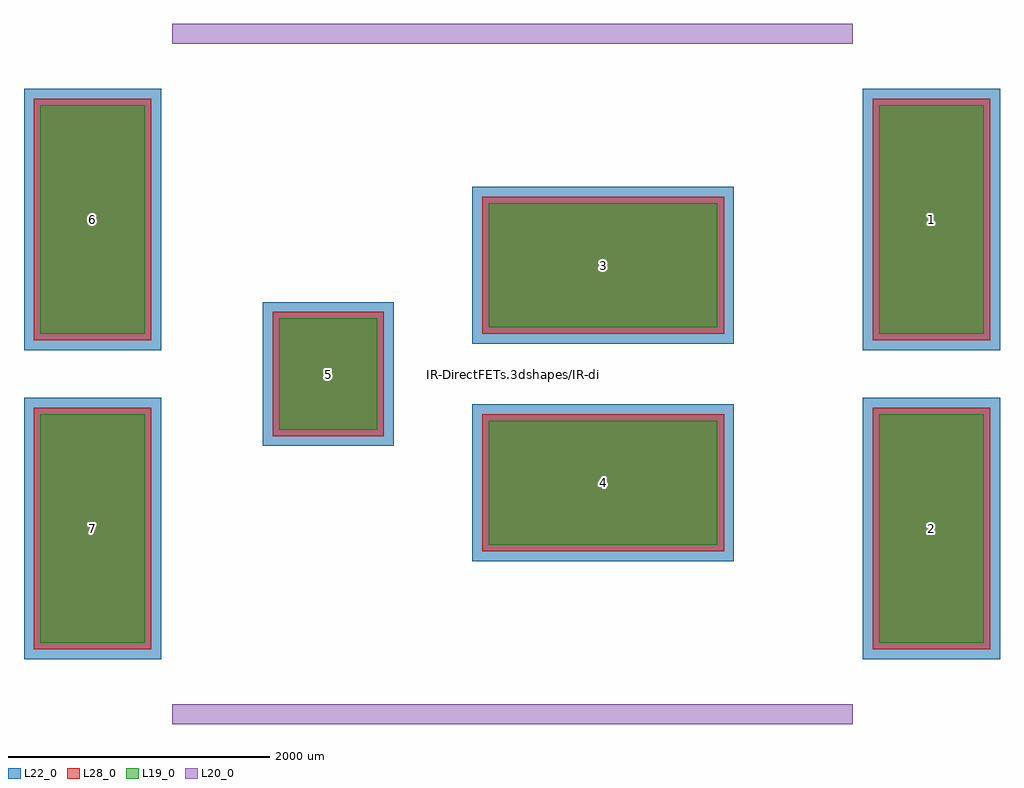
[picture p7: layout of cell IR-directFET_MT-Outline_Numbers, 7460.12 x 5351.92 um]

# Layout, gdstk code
import gdstk
lib = gdstk.Library(unit=1e-6, precision=1e-09)
def R(c, l, rs):  # rectangles x0, y0, x1, y1
    for r in rs: c.add(gdstk.rectangle(r[:2], r[2:], *l))
L19_0 = (19, 0)
L20_0 = (20, 0)
L22_0 = (22, 0)
L28_0 = (28, 0)

ir_directfet_mt_outline_ = lib.new_cell('IR-directFET_MT-Outline_Numbers')
R(ir_directfet_mt_outline_, L19_0, [(-3610.14,-2055.66,-2810.98,-306.54), (2800.82,-2055.66,3599.98,-306.54), (-183.68,-1305.09,1565.44,-356.07), (-1785.15,-424.98,-1034.25,424.98), (-3610.14,306.54,-2810.98,2055.66), (2800.82,306.54,3599.98,2055.66), (-183.68,356.07,1565.44,1305.09)])
R(ir_directfet_mt_outline_, L22_0, [(-3735.14,-2180.66,-2685.98,-181.54), (2675.82,-2180.66,3724.98,-181.54), (-308.68,-1430.09,1690.44,-231.07), (-1910.15,-549.98,-909.25,549.98), (-3735.14,181.54,-2685.98,2180.66), (2675.82,181.54,3724.98,2180.66), (-308.68,231.07,1690.44,1430.09)])
R(ir_directfet_mt_outline_, L28_0, [(-3660.14,-2105.66,-2760.98,-256.54), (2750.82,-2105.66,3649.98,-256.54), (-233.68,-1355.09,1615.44,-306.07), (-1835.15,-474.98,-984.25,474.98), (-3660.14,256.54,-2760.98,2105.66), (2750.82,256.54,3649.98,2105.66), (-233.68,306.07,1615.44,1355.09)])
ir_directfet_mt_outline_.add(gdstk.FlexPath([(-2600.96,2600.96),(2600.96,2600.96)], 149.998, ends="flush", simple_path=True, layer=20, datatype=0))  # L20_0
ir_directfet_mt_outline_.add(gdstk.FlexPath([(2600.96,-2600.96),(-2600.96,-2600.96)], 149.998, ends="flush", simple_path=True, layer=20, datatype=0))  # L20_0
ir_directfet_mt_outline_.add(gdstk.Label('IR-DirectFETs.3dshapes/IR-directFET_MT-Outline_Numbers.wrl', (0,0), layer=12, texttype=0))
ir_directfet_mt_outline_.add(gdstk.Label('2', (3200.4,-1181.1), layer=28, texttype=0))
ir_directfet_mt_outline_.add(gdstk.Label('1', (3200.4,1181.1), layer=28, texttype=0))
ir_directfet_mt_outline_.add(gdstk.Label('7', (-3210.56,-1181.1), layer=28, texttype=0))
ir_directfet_mt_outline_.add(gdstk.Label('6', (-3210.56,1181.1), layer=28, texttype=0))
ir_directfet_mt_outline_.add(gdstk.Label('4', (690.88,-830.58), layer=28, texttype=0))
ir_directfet_mt_outline_.add(gdstk.Label('3', (690.88,830.58), layer=28, texttype=0))
ir_directfet_mt_outline_.add(gdstk.Label('5', (-1409.7,0), layer=28, texttype=0))
ir_directfet_mt_outline_.add(gdstk.Label('type', (0,-4826), layer=9, texttype=0))
ir_directfet_mt_outline_.add(gdstk.Label('devicename', (0,4099.56), layer=9, texttype=0))

lib.write_gds('IR-directFET_MT-Outline_Numbers.gds')
